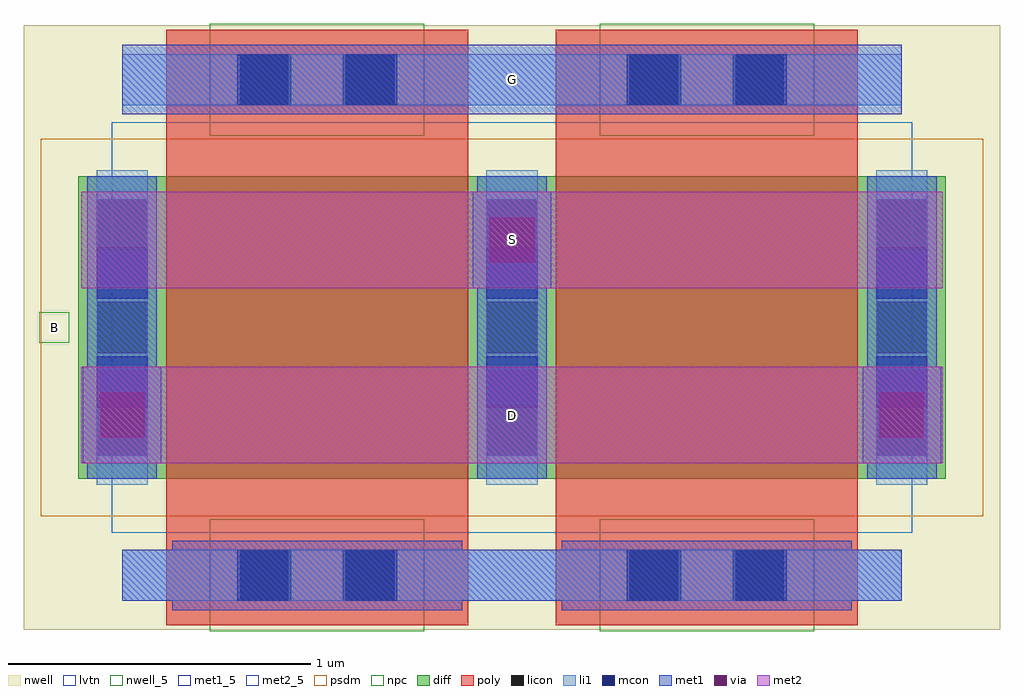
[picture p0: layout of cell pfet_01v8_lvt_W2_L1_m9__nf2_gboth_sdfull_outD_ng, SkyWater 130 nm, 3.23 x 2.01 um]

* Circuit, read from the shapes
.subckt pfet_01v8_lvt_W2_L1_m9__nf2_gboth_sdfull_outD_ng B D G S
XM1 S G D B sky130_fd_pr__pfet_01v8_lvt w=1 l=1 m=2
.ends

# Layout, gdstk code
import gdstk
lib = gdstk.Library(unit=1e-6, precision=1e-09)
def R(c, l, rs):  # rectangles x0, y0, x1, y1
    for r in rs: c.add(gdstk.rectangle(r[:2], r[2:], *l))
def A(c, l, x, y, w, h, nx, ny, dx, dy):  # array of equal rectangles
    R(c, l, [(x+i*dx, y+j*dy, x+i*dx+w, y+j*dy+h) for i in range(nx) for j in range(ny)])
nwell_5 = (64, 5)
nwell = (64, 20)
diff = (65, 20)
poly = (66, 20)
licon = (66, 44)
li1 = (67, 20)
mcon = (67, 44)
met1_5 = (68, 5)
met1 = (68, 20)
via = (68, 44)
met2_5 = (69, 5)
met2 = (69, 20)
psdm = (94, 20)
npc = (95, 20)
lvtn = (125, 44)

sky130_fd_pr__pfet_01v8_ = lib.new_cell('sky130_fd_pr__pfet_01v8_lvt_2HDQYB')
R(sky130_fd_pr__pfet_01v8_, nwell, [(-1.615,-1,1.615,1)])
R(sky130_fd_pr__pfet_01v8_, diff, [(-1.435,-0.5,1.435,0.5)])
R(sky130_fd_pr__pfet_01v8_, poly, [(-1.145,-0.985,-0.145,0.985), (0.145,-0.985,1.145,0.985)])
A(sky130_fd_pr__pfet_01v8_, licon, -1.375, -0.425, 0.17, 0.17, 3, 3, 1.29, 0.34)
R(sky130_fd_pr__pfet_01v8_, licon, [(-0.9,-0.905,-0.73,-0.735), (-0.56,-0.905,-0.39,-0.735), (0.39,-0.905,0.56,-0.735), (0.73,-0.905,0.9,-0.735), (-0.9,0.735,-0.73,0.905), (-0.56,0.735,-0.39,0.905), (0.39,0.735,0.56,0.905), (0.73,0.735,0.9,0.905)])
A(sky130_fd_pr__pfet_01v8_, li1, -1.375, -0.52, 0.17, 1.04, 3, 1, 1.29, 0)
R(sky130_fd_pr__pfet_01v8_, li1, [(-1.29,-0.905,1.29,-0.735), (-1.29,0.735,1.29,0.905)])
A(sky130_fd_pr__pfet_01v8_, mcon, -1.375, -0.265, 0.17, 0.17, 3, 2, 1.29, 0.36)
R(sky130_fd_pr__pfet_01v8_, mcon, [(-0.91,-0.905,-0.74,-0.735), (-0.55,-0.905,-0.38,-0.735), (0.38,-0.905,0.55,-0.735), (0.74,-0.905,0.91,-0.735), (-0.91,0.735,-0.74,0.905), (-0.55,0.735,-0.38,0.905), (0.38,0.735,0.55,0.905), (0.74,0.735,0.91,0.905)])
A(sky130_fd_pr__pfet_01v8_, met1, -1.405, -0.5, 0.23, 1, 3, 1, 1.29, 0)
R(sky130_fd_pr__pfet_01v8_, met1, [(-1.125,-0.935,-0.165,-0.905), (0.165,-0.935,1.125,-0.905), (-1.29,-0.905,1.29,-0.735), (-1.125,-0.735,-0.165,-0.705), (0.165,-0.735,1.125,-0.705), (-1.125,0.705,-0.165,0.735), (0.165,0.705,1.125,0.735), (-1.29,0.735,1.29,0.905), (-1.125,0.905,-0.165,0.935), (0.165,0.905,1.125,0.935)])
R(sky130_fd_pr__pfet_01v8_, psdm, [(-1.56,-0.625,1.56,0.625)])
R(sky130_fd_pr__pfet_01v8_, npc, [(-1,-1.005,-0.29,-0.635), (0.29,-1.005,1,-0.635), (-1,0.635,-0.29,1.005), (0.29,0.635,1,1.005)])
R(sky130_fd_pr__pfet_01v8_, lvtn, [(-1.325,-0.68,1.325,0.68)])
sky130_fd_pr__pfet_01v8_.add(gdstk.Label('D0', (-1.29,0), layer=67, texttype=5))
sky130_fd_pr__pfet_01v8_.add(gdstk.Label('G', (0.645,0.82), layer=67, texttype=5))
sky130_fd_pr__pfet_01v8_.add(gdstk.Label('G', (-0.645,0.82), layer=67, texttype=5))
sky130_fd_pr__pfet_01v8_.add(gdstk.Label('S1', (0,0), layer=67, texttype=5))

pfet_01v8_lvt_w2_l1_m9__ = lib.new_cell('pfet_01v8_lvt_W2_L1_m9__nf2_gboth_sdfull_outD_ng')
R(pfet_01v8_lvt_w2_l1_m9__, nwell_5, [(0.05,0.95,0.15,1.05)])
R(pfet_01v8_lvt_w2_l1_m9__, nwell, [(0.05,0.95,0.15,1.05)])
R(pfet_01v8_lvt_w2_l1_m9__, met1_5, [(0.325,1.705,2.905,1.935)])
R(pfet_01v8_lvt_w2_l1_m9__, met1, [(0.195,0.55,0.455,0.87), (2.775,0.55,3.035,0.87), (1.485,1.13,1.745,1.45), (0.325,1.705,2.905,1.935)])
R(pfet_01v8_lvt_w2_l1_m9__, via, [(0.25,0.635,0.4,0.785), (2.83,0.635,2.98,0.785), (1.54,1.215,1.69,1.365)])
R(pfet_01v8_lvt_w2_l1_m9__, met2_5, [(0.19,0.55,3.04,0.87), (0.19,1.13,3.04,1.45)])
R(pfet_01v8_lvt_w2_l1_m9__, met2, [(0.19,0.55,3.04,0.87), (0.19,1.13,3.04,1.45)])
pfet_01v8_lvt_w2_l1_m9__.add(gdstk.Reference(sky130_fd_pr__pfet_01v8_, (1.615,1)))
pfet_01v8_lvt_w2_l1_m9__.add(gdstk.Label('S', (1.615,1.29), layer=69, texttype=5))
pfet_01v8_lvt_w2_l1_m9__.add(gdstk.Label('D', (1.615,0.71), layer=69, texttype=5))
pfet_01v8_lvt_w2_l1_m9__.add(gdstk.Label('G', (1.615,1.82), layer=68, texttype=5))
pfet_01v8_lvt_w2_l1_m9__.add(gdstk.Label('B', (0.1,1), layer=64, texttype=5))

lib.write_gds('pfet_01v8_lvt_W2_L1_m9__nf2_gboth_sdfull_outD_ng.gds')
